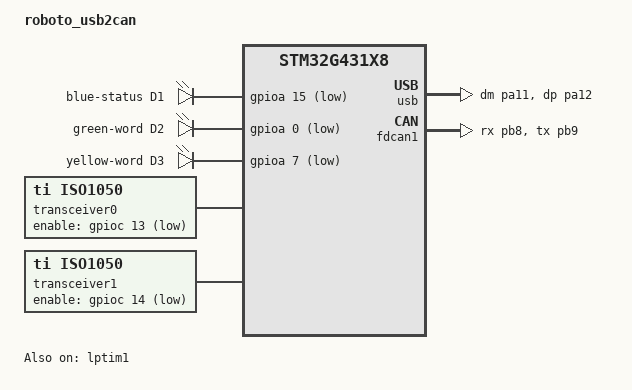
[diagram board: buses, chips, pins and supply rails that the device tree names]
/dts-v1/;
/*
 * Copyright (c) 2025 roboparty <2321901849@qq.com>
 *
 *  SPDX-License-Identifier: Apache-2.0
 */

#include <st/g4/stm32g431X8.dtsi>
#include <st/g4/stm32g431c(6-8-b)tx-pinctrl.dtsi>

/ {
    model = "roboto_usb2can";
    compatible = "candlelightfd";

    chosen {
        zephyr,sram = &sram0;
        zephyr,flash = &flash0;
        zephyr,canbus = &fdcan1;
    };

	aliases {
		led0 = &blue_led;
		led1 = &green_led;
		led2 = &yellow_led;
	};

	leds: leds {
		compatible = "gpio-leds";

		blue_led: led_1 {
			gpios = <&gpioa 15 GPIO_ACTIVE_LOW>;
			label = "blue-status D1";
		};

		green_led: led_2 {
			gpios = <&gpioa 0 GPIO_ACTIVE_LOW>;
			label = "green-word D2";
		};

		yellow_led: led_3 {
			gpios = <&gpioa 7 GPIO_ACTIVE_LOW>;
			label = "yellow-word D3";
		};
	};

    transceiver0: can-phy0 {
        compatible = "ti,iso1050", "can-transceiver-gpio";
        enable-gpios = <&gpioc 13 GPIO_ACTIVE_LOW>;
        max-bitrate = <5000000>;
        #phy-cells = <0>;
    };

    transceiver1: can-phy1 {
        compatible = "ti,iso1050", "can-transceiver-gpio";
        enable-gpios = <&gpioc 14 GPIO_ACTIVE_LOW>;
        max-bitrate = <5000000>;
        #phy-cells = <0>;
    };

    cannectivity: cannectivity {
        compatible = "cannectivity";
		timestamp-counter = <&counters2>;

        channel0 {
            compatible = "cannectivity-channel";
            can-controller = <&fdcan1>;
			state-led = <&blue_led>;
			activity-leds = <&green_led>;
        };
    };

    gs_usb0: gs_usb0 {
		compatible = "gs_usb";
		label = "gs_usb";
	};
};

&clk_hsi {
    status = "okay";
};

&clk_hsi48 {
    status = "okay";
};

/* Adjust the pll for a SYSTEM Clock of 160 MHz  */
&pll {
	div-m = <4>;
	mul-n = <80>;
	div-p = <2>;
	div-q = <4>;
	div-r = <2>;
	clocks = <&clk_hsi>;
	status = "okay";
};

&rcc {
	clocks = <&pll>;
	clock-frequency = <DT_FREQ_M(160)>;
	ahb-prescaler = <1>;
	apb1-prescaler = <1>;
	apb2-prescaler = <1>;
};

zephyr_udc0: &usb {
	pinctrl-0 = <&usb_dm_pa11 &usb_dp_pa12>;
	pinctrl-names = "default";
	clocks = <&rcc STM32_CLOCK(APB1, 23)>,
		 <&rcc STM32_SRC_HSI48 CLK48_SEL(0)>;
	status = "okay";
};

&fdcan1 {
	pinctrl-0 = <&fdcan1_rx_pb8 &fdcan1_tx_pb9>;
	pinctrl-names = "default";
	clocks = <&rcc STM32_CLOCK(APB1, 25)>,
		 <&rcc STM32_SRC_PLL_Q FDCAN_SEL(1)>;
	status = "okay";
};

/* 1MHz Timestamp Counter (64MHz / 64 = 1MHz) */
stm32_lp_tick_source: &lptim1 {
	clocks = <&rcc STM32_CLOCK(APB1, 31)>,
		 <&rcc STM32_SRC_LSI LPTIM1_SEL(3)>;
	status = "okay";
};

&timers2 {
	st,prescaler = <159>;
	counters2: counter {
		status = "okay";
	};
};
